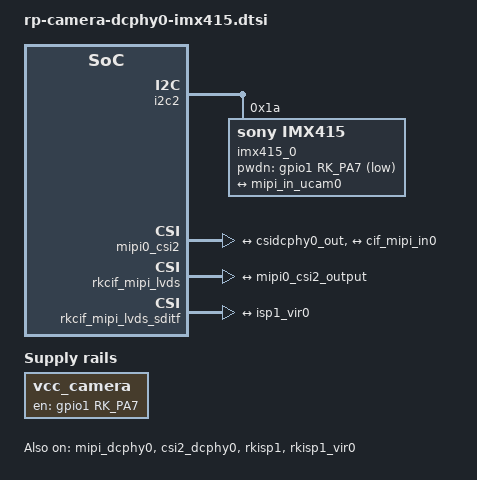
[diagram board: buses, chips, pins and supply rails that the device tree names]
/
{
        vcc_camera: vcc-camera-regulator {
                compatible = "regulator-fixed";
                gpio = <&gpio1 RK_PA7 GPIO_ACTIVE_LOW>;
                pinctrl-names = "default";
                pinctrl-0 = <&camera_pwr>;
                regulator-name = "vcc_camera";
                enable-active-high;
                regulator-always-on;
                regulator-boot-on;
        };
};

&i2c2 {
	status = "okay";
	pinctrl-names = "default";
	pinctrl-0 = <&i2c2m4_xfer>;

  
	imx415_0: imx415_0@1a {
		compatible = "sony,imx415";
		status = "okay";
		reg = <0x1a>;
		clocks = <&cru CLK_MIPI_CAMARAOUT_M1>;
		clock-names = "xvclk";
		power-domains = <&power RK3588_PD_VI>;
		pinctrl-names = "default";
		pinctrl-0 = <&mipim0_camera1_clk>;
		rockchip,grf = <&sys_grf>;
		pwdn-gpios = <&gpio1 RK_PA7 GPIO_ACTIVE_LOW>;
               // reset-gpios = <&gpio1 RK_PD5 GPIO_ACTIVE_HIGH>;
		rockchip,camera-module-index = <0>;
		rockchip,camera-module-facing = "front";
		rockchip,camera-module-name = "CMK-OT2022-PX1";
		rockchip,camera-module-lens-name = "IR0147-50IRC-8M-F20";
		port {
			imx415_out0: endpoint {
				remote-endpoint = <&mipi_in_ucam0>;
				data-lanes = <1 2 3 4>;
			};
		};
	};
};


&mipi_dcphy0 {
	status = "okay";
};

&csi2_dcphy0 {
	status = "okay";

	ports {
		#address-cells = <1>;
		#size-cells = <0>;
    port@0 {
			reg = <0>;
			#address-cells = <1>;
			#size-cells = <0>;

			mipi_in_ucam0: endpoint@1 {
				reg = <1>;
				remote-endpoint = <&imx415_out0>;
        data-lanes = <1 2 3 4>;
			};
		};

		port@1 {
			reg = <1>;
			#address-cells = <1>;
			#size-cells = <0>;

			csidcphy0_out: endpoint@0 {
				reg = <0>;
				remote-endpoint = <&mipi0_csi2_input>;
			};
		};
	};
};

&mipi0_csi2 {
	status = "okay";

	ports {
		#address-cells = <1>;
		#size-cells = <0>;

		port@0 {
			reg = <0>;
			#address-cells = <1>;
			#size-cells = <0>;

			mipi0_csi2_input: endpoint@0 {
				reg = <0>;
				remote-endpoint = <&csidcphy0_out>;
			};
		};

		port@1 {
			reg = <1>;
			#address-cells = <1>;
			#size-cells = <0>;

			mipi0_csi2_output: endpoint@1 {
				reg = <1>;
				remote-endpoint = <&cif_mipi_in0>;
			};
		};
	};
};

&rkcif_mipi_lvds {
	status = "okay";

	port {
		cif_mipi_in0: endpoint {
			remote-endpoint = <&mipi0_csi2_output>;
		};
	};
};

&rkcif_mipi_lvds_sditf {
	status = "okay";

	port {
		mipi_lvds_sditf: endpoint {
			remote-endpoint = <&isp1_vir0>;
		};
	};
};

&rkisp1 {
	status = "okay";
};

&isp1_mmu {
	status = "okay";
};

&rkisp1_vir0 {
	status = "okay";
	port {
		#address-cells = <1>;
		#size-cells = <0>;

		isp1_vir0: endpoint@0 {
			reg = <0>;
			remote-endpoint = <&mipi_lvds_sditf>;
		};
	};
};


&pinctrl {
                camera_pwr: camera-pwr {
                        rockchip,pins =
                                /* camera power en */
                                <1 RK_PA7 3 &pcfg_pull_down>;
                };
};
